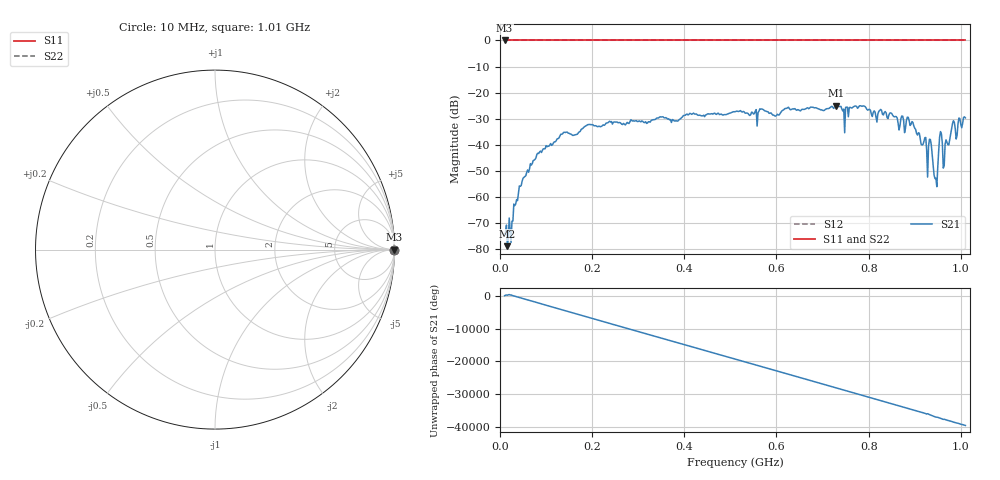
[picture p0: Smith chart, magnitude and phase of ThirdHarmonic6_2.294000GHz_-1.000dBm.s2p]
! 8/17/2025 3:04:09 AM
! C:\ANRITSUVNA\TEMP\TEMP.S2P
! CHANNEL.1
! TR.MEASUREMENT
! RAW.DATA
! RF.CORRECTION.OFF
! AVERAGING.OFF
! IF.BANDWIDTH: 5KHZ
! SWEEPTYPE:  FREQ.SWEEP(Linear)
! Reference Plane Port Info
! PORT:  PORT1  PORT2
! DISTANCE:  0  m  0  m
! TIME:  0  s  0  s
! PHASE.OFFSET:  0  deg.  0  deg.
! LOSS:  0  dB  0  dB
! REF.LOSS:  0  dB  0  dB
! REF.FREQ:  0  Hz  0  Hz
! Power Info
! POWER:  -20  dBm  -20  dBm
! EFF.POWER:  -20  dBm  -20  dBm
! SOURCE.ATTEN:  0  dB  0  dB
! TEST.ATTEN:  0  dB  0  dB
# GHZ S RI R 50.0
! FREQ.GHZ  S11RE  S11IM  S21RE  S21IM  S12RE  S12IM  S22RE  S22IM
!; PortSelection: Port_12
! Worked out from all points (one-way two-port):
!   501 points, 10 MHz to 1.01 GHz, reference 50 ohm
!   highest |S21| = -25.01 dB at 730 MHz (marker M1); lowest = -78.9 dB at 16 MHz (marker M2)
!   lowest |S11| = 0.0 dB at 10 MHz (marker M3)
!   |S11| at or under -10 dB: nowhere
!   |S22| runs from 0.0 to 0.0 dB; largest |S21 - S12| = 1.1
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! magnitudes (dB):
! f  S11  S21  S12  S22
! 10 MHz  0.0  -74.3  0.0  0.0
! 16 MHz  0.0  -78.9  0.0  0.0
! 20 MHz  0.0  -68.1  0.0  0.0
! 46 MHz  0.0  -55.6  0.0  0.0
! 84 MHz  0.0  -43.3  0.0  0.0
! 136 MHz  0.0  -35.8  0.0  0.0
! 178 MHz  0.0  -33.9  0.0  0.0
! 344 MHz  0.0  -29.7  0.0  0.0
! 510 MHz  0.0  -27.3  0.0  0.0
! 678 MHz  0.0  -25.6  0.0  0.0
! 730 MHz  0.0  -25.0  0.0  0.0
! 746 MHz  0.0  -26.3  0.0  0.0
! 844 MHz  0.0  -28.6  0.0  0.0
! 886 MHz  0.0  -29.5  0.0  0.0
! 924 MHz  0.0  -37.2  0.0  0.0
! 934 MHz  0.0  -38.0  0.0  0.0
! 946 MHz  0.0  -52.8  0.0  0.0
! 956 MHz  0.0  -34.9  0.0  0.0
! 966 MHz  0.0  -39.7  0.0  0.0
! 982 MHz  0.0  -31.9  0.0  0.0
! 990 MHz  0.0  -37.8  0.0  0.0
! 1.01 GHz  0.0  -29.7  0.0  0.0
